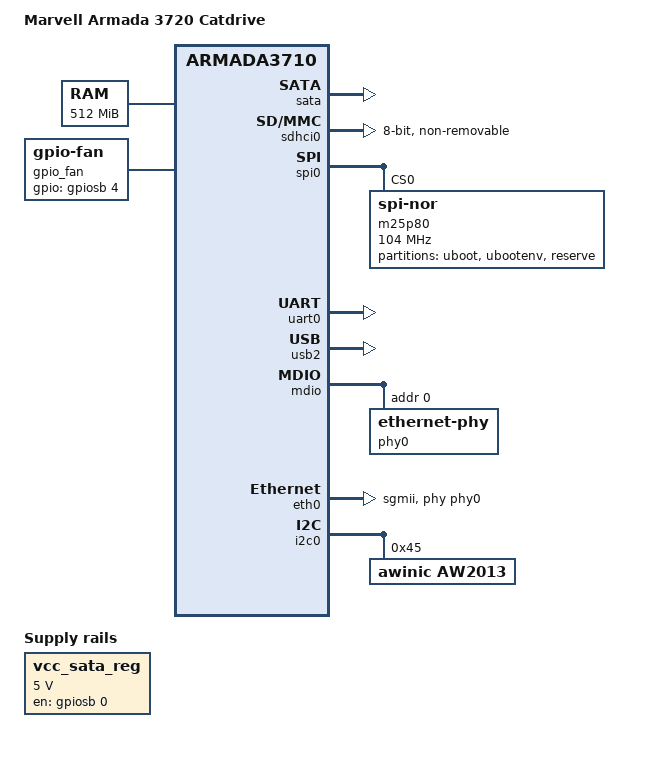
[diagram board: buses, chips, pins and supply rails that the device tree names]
// SPDX-License-Identifier: (GPL-2.0+ OR MIT)

/dts-v1/;

#include <dt-bindings/gpio/gpio.h>
#include <dt-bindings/leds/common.h>
#include "armada-372x.dtsi"

/ {
	model = "Marvell Armada 3720 Catdrive";
	compatible = "marvell,catdrive", "marvell,armada3720", "marvell,armada3710";

	aliases {
		ethernet0 = &eth0;
	};

	chosen {
		stdout-path = "serial0:115200n8";
	};

	memory@0 {
		device_type = "memory";
		reg = <0x00000000 0x00000000 0x00000000 0x20000000>;
	};

	vcc_sata_reg: regulator {
		compatible = "regulator-fixed";
		regulator-name = "vcc_sata";
		regulator-min-microvolt = <5000000>;
		regulator-max-microvolt = <5000000>;
		regulator-boot-on;
		regulator-always-on;
		enable-active-high;
		gpio = <&gpiosb 0 GPIO_ACTIVE_HIGH>;
	};

	gpio_fan {
		compatible = "gpio-fan";
		gpios = <&gpiosb 4 GPIO_ACTIVE_HIGH>;
		gpio-fan,speed-map = <0    0
					1000 1>;
	};
};

&sata {
	status = "okay";
};

&sdhci0 {
	non-removable;
	bus-width = <8>;
	mmc-ddr-1_8v;
	mmc-hs200-1_8v;
	marvell,pad-type = "fixed-1-8v";
	status = "okay";
};

&spi0 {
	status = "okay";

	m25p80@0 {
		reg = <0>;
		compatible = "jedec,spi-nor";
		spi-max-frequency = <104000000>;
		m25p,fast-read;
		status = "okay";

		partitions {
			compatible = "fixed-partitions";
			#address-cells = <1>;
			#size-cells = <1>;

			partition@0 {
				label = "uboot";
				reg = <0 0x1f0000>;
			};

			partition@1f0000 {
				label = "ubootenv";
				reg = <0x1f0000 0x10000>;
			};

			partition@200000 {
				label = "reserve";
				reg = <0x200000 0x600000>;
			};
		};
	};
};

&uart0 {
	pinctrl-names = "default";
	pinctrl-0 = <&uart1_pins>;
	status = "okay";
};

&usb2 {
	status = "okay";
};

&mdio {
	phy0: ethernet-phy@0 {
		reg = <0>;
		marvell,reg-init = <0x01 0x1A 0x0 0x47>;
	};
};

&eth0 {
	phy-mode = "sgmii";
	phy = <&phy0>;
	status = "okay";
};

&i2c0 {
	pinctrl-names = "default";
	pinctrl-0 = <&i2c1_pins>;
	status = "okay";
	#address-cells = <1>;
	#size-cells = <0>;

	aw2013@45 {
		compatible = "awinic,aw2013";
		reg = <0x45>;
		#address-cells = <1>;
		#size-cells = <0>;

		led@0 {
			reg = <0>;
			led-max-microamp = <15000>;
			function = LED_FUNCTION_INDICATOR;
			color = <LED_COLOR_ID_RED>;
			linux,default-trigger = "panic";
		};

		led@1 {
			reg = <1>;
			led-max-microamp = <15000>;
			function = LED_FUNCTION_INDICATOR;
			color = <LED_COLOR_ID_GREEN>;
			linux,default-trigger = "default-on";
		};

		led@2 {
			reg = <2>;
			led-max-microamp = <15000>;
			function = LED_FUNCTION_INDICATOR;
			color = <LED_COLOR_ID_BLUE>;
			linux,default-trigger = "disk-activity";
		};
	};
};
